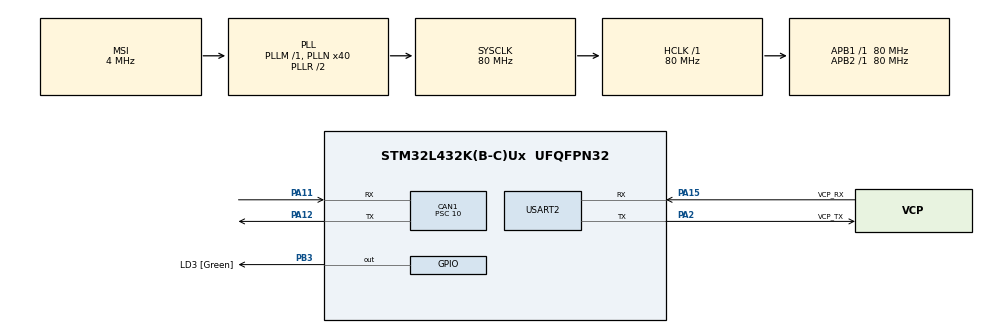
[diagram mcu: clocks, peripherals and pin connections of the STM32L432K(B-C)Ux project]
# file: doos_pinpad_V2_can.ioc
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CAN1.BS1=CAN_BS1_13TQ
CAN1.BS2=CAN_BS2_2TQ
CAN1.CalculateBaudRate=500000
CAN1.CalculateTimeBit=2000
CAN1.CalculateTimeQuantum=125.0
CAN1.Prescaler=10
CAN1.SJW=CAN_SJW_1TQ
Mcu.Family=STM32L4
Mcu.Name=STM32L432K(B-C)Ux
Mcu.Package=UFQFPN32
NVIC.CAN1_RX0_IRQn=true\:0\:0\:false\:false\:true\:true\:true\:true
NVIC.PriorityGroup=NVIC_PRIORITYGROUP_4
PA0.GPIO_Label=MCO [High speed clock in]
PA0.Mode=HSE-External-Clock-Source-for-LittleOrca
PA0.Signal=RCC_CK_IN
PA11.GPIO_PuPd=GPIO_PULLUP
PA11.Mode=CAN_Activate
PA11.Signal=CAN1_RX
PA12.Mode=CAN_Activate
PA12.Signal=CAN1_TX
PA13\ (JTMS-SWDIO).GPIO_Label=SWDIO
PA13\ (JTMS-SWDIO).Mode=Serial_Wire
PA13\ (JTMS-SWDIO).Signal=SYS_JTMS-SWDIO
PA14\ (JTCK-SWCLK).GPIO_Label=SWCLK
PA14\ (JTCK-SWCLK).Mode=Serial_Wire
PA14\ (JTCK-SWCLK).Signal=SYS_JTCK-SWCLK
PA15\ (JTDI).GPIO_Label=VCP_RX
PA15\ (JTDI).Mode=Asynchronous
PA15\ (JTDI).Signal=USART2_RX
PA2.GPIO_Label=VCP_TX
PA2.Mode=Asynchronous
PA2.Signal=USART2_TX
PB3\ (JTDO-TRACESWO).GPIO_Label=LD3 [Green]
PB3\ (JTDO-TRACESWO).Signal=GPIO_Output
PC14-OSC32_IN\ (PC14).Mode=LSE-External-Oscillator
PC14-OSC32_IN\ (PC14).Signal=RCC_OSC32_IN
PC15-OSC32_OUT\ (PC15).Mode=LSE-External-Oscillator
PC15-OSC32_OUT\ (PC15).Signal=RCC_OSC32_OUT
ProjectManager.HeapSize=0x200
ProjectManager.StackSize=0x400
ProjectManager.TargetToolchain=STM32CubeIDE
RCC.AHBFreq_Value=80000000
RCC.APB1Freq_Value=80000000
RCC.APB1TimFreq_Value=80000000
RCC.APB2Freq_Value=80000000
RCC.APB2TimFreq_Value=80000000
RCC.CortexFreq_Value=80000000
RCC.HCLKFreq_Value=80000000
RCC.HSE_VALUE=8000000
RCC.HSI16_VALUE=16000000
RCC.HSI48_VALUE=48000000
RCC.HSI_VALUE=16000000
RCC.MSI_VALUE=4000000
RCC.PLLMUL=RCC_PLLMUL_4
RCC.PLLN=40
RCC.SYSCLKFreq_VALUE=80000000
RCC.SYSCLKSource=RCC_SYSCLKSOURCE_PLLCLK
RCC.VCOOutputFreq_Value=160000000
USART2.VirtualMode-Asynchronous=VM_ASYNC
board=NUCLEO-L432KC

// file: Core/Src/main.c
/* USER CODE BEGIN Header */
/**
  ******************************************************************************
  * @file           : main.c
  * @brief          : Main program body
  ******************************************************************************
  * @attention
  *
  * Copyright (c) 2026 STMicroelectronics.
  * All rights reserved.
  *
  * This software is licensed under terms that can be found in the LICENSE file
  * in the root directory of this software component.
  * If no LICENSE file comes with this software, it is provided AS-IS.
  *
  ******************************************************************************
  */
/* USER CODE END Header */
#include "main.h"

/* USER CODE BEGIN Includes */
#include <string.h>
#include <stdio.h>
/* USER CODE END Includes */

CAN_HandleTypeDef hcan1;

UART_HandleTypeDef huart2;

/* USER CODE BEGIN PV */
CAN_RxHeaderTypeDef   rxHeader;
uint8_t               rxData[8];
volatile int datacheck = 0;
/* USER CODE END PV */

void SystemClock_Config(void);
static void MX_GPIO_Init(void);
static void MX_USART2_UART_Init(void);
static void MX_CAN1_Init(void);
/* USER CODE BEGIN PFP */
void sendCAN(uint32_t id, uint8_t *data, uint8_t len);
void uartPrint(char *msg);

/* USER CODE END PFP */

int main(void)
{

  /* MCU Configuration--------------------------------------------------------*/

  /* Reset of all peripherals, Initializes the Flash interface and the Systick. */
  HAL_Init();

  /* Configure the system clock */
  SystemClock_Config();

  /* Initialize all configured peripherals */
  MX_GPIO_Init();
  MX_USART2_UART_Init();
  MX_CAN1_Init();
  /* USER CODE BEGIN 2 */
  CAN_FilterTypeDef filter;

  filter.FilterBank = 0;
  filter.FilterMode = CAN_FILTERMODE_IDMASK;
  filter.FilterScale = CAN_FILTERSCALE_32BIT;
  filter.FilterIdHigh = 0;
  filter.FilterIdLow = 0;
  filter.FilterMaskIdHigh = 0;
  filter.FilterMaskIdLow = 0;
  filter.FilterFIFOAssignment = CAN_FILTER_FIFO0;
  filter.FilterActivation = ENABLE;

  HAL_CAN_ConfigFilter(&hcan1, &filter);
  HAL_CAN_Start(&hcan1);
  HAL_CAN_ActivateNotification(&hcan1, CAN_IT_RX_FIFO0_MSG_PENDING);

  /* USER CODE END 2 */

  /* Infinite loop */
  /* USER CODE BEGIN WHILE */
  while (1)
  {
	    CAN_TxHeaderTypeDef header;
	    uint32_t mailbox;
	    uint8_t data[1] = {0x12};

	    header.StdId = 0x104;
	    header.IDE = CAN_ID_STD;
	    header.RTR = CAN_RTR_DATA;
	    header.DLC = 1;
	    char msg[] = "CAN verstuurd!\n";
	    HAL_UART_Transmit(&huart2, (uint8_t*)msg, strlen(msg), HAL_MAX_DELAY);
	    HAL_Delay(5000);
	    if (HAL_CAN_AddTxMessage(&hcan1, &header, data, &mailbox) != HAL_OK)
	    {
	       Error_Handler ();
	    }

	    HAL_Delay(1000);
	    if (datacheck)
	    {
	    	datacheck =0;
		    char msg2[] = "CAN ontvangen!\n\0";
		    HAL_UART_Transmit(&huart2, (uint8_t*)msg2, strlen(msg2), HAL_MAX_DELAY);
	    }
    /* USER CODE END WHILE */

  }
}

void SystemClock_Config(void)
{
  RCC_OscInitTypeDef RCC_OscInitStruct = {0};
  RCC_ClkInitTypeDef RCC_ClkInitStruct = {0};

  /** Configure the main internal regulator output voltage
  */
  if (HAL_PWREx_ControlVoltageScaling(PWR_REGULATOR_VOLTAGE_SCALE1) != HAL_OK)
  {
    Error_Handler();
  }

  /** Configure LSE Drive Capability
  */
  HAL_PWR_EnableBkUpAccess();
  __HAL_RCC_LSEDRIVE_CONFIG(RCC_LSEDRIVE_LOW);

  /** Initializes the RCC Oscillators according to the specified parameters
  * in the RCC_OscInitTypeDef structure.
  */
  RCC_OscInitStruct.OscillatorType = RCC_OSCILLATORTYPE_LSE|RCC_OSCILLATORTYPE_MSI;
  RCC_OscInitStruct.LSEState = RCC_LSE_ON;
  RCC_OscInitStruct.MSIState = RCC_MSI_ON;
  RCC_OscInitStruct.MSICalibrationValue = 0;
  RCC_OscInitStruct.MSIClockRange = RCC_MSIRANGE_6;
  RCC_OscInitStruct.PLL.PLLState = RCC_PLL_ON;
  RCC_OscInitStruct.PLL.PLLSource = RCC_PLLSOURCE_MSI;
  RCC_OscInitStruct.PLL.PLLM = 1;
  RCC_OscInitStruct.PLL.PLLN = 40;
  RCC_OscInitStruct.PLL.PLLP = RCC_PLLP_DIV7;
  RCC_OscInitStruct.PLL.PLLQ = RCC_PLLQ_DIV2;
  RCC_OscInitStruct.PLL.PLLR = RCC_PLLR_DIV2;
  if (HAL_RCC_OscConfig(&RCC_OscInitStruct) != HAL_OK)
  {
    Error_Handler();
  }

  /** Initializes the CPU, AHB and APB buses clocks
  */
  RCC_ClkInitStruct.ClockType = RCC_CLOCKTYPE_HCLK|RCC_CLOCKTYPE_SYSCLK
                              |RCC_CLOCKTYPE_PCLK1|RCC_CLOCKTYPE_PCLK2;
  RCC_ClkInitStruct.SYSCLKSource = RCC_SYSCLKSOURCE_PLLCLK;
  RCC_ClkInitStruct.AHBCLKDivider = RCC_SYSCLK_DIV1;
  RCC_ClkInitStruct.APB1CLKDivider = RCC_HCLK_DIV1;
  RCC_ClkInitStruct.APB2CLKDivider = RCC_HCLK_DIV1;

  if (HAL_RCC_ClockConfig(&RCC_ClkInitStruct, FLASH_LATENCY_4) != HAL_OK)
  {
    Error_Handler();
  }

  /** Enable MSI Auto calibration
  */
  HAL_RCCEx_EnableMSIPLLMode();
}

static void MX_CAN1_Init(void)
{

  hcan1.Instance = CAN1;
  hcan1.Init.Prescaler = 10;
  hcan1.Init.Mode = CAN_MODE_NORMAL;
  hcan1.Init.SyncJumpWidth = CAN_SJW_1TQ;
  hcan1.Init.TimeSeg1 = CAN_BS1_13TQ;
  hcan1.Init.TimeSeg2 = CAN_BS2_2TQ;
  hcan1.Init.TimeTriggeredMode = DISABLE;
  hcan1.Init.AutoBusOff = ENABLE;
  hcan1.Init.AutoWakeUp = DISABLE;
  hcan1.Init.AutoRetransmission = ENABLE;
  hcan1.Init.ReceiveFifoLocked = DISABLE;
  hcan1.Init.TransmitFifoPriority = DISABLE;
  if (HAL_CAN_Init(&hcan1) != HAL_OK)
  {
    Error_Handler();
  }

}

static void MX_USART2_UART_Init(void)
{

  huart2.Instance = USART2;
  huart2.Init.BaudRate = 115200;
  huart2.Init.WordLength = UART_WORDLENGTH_8B;
  huart2.Init.StopBits = UART_STOPBITS_1;
  huart2.Init.Parity = UART_PARITY_NONE;
  huart2.Init.Mode = UART_MODE_TX_RX;
  huart2.Init.HwFlowCtl = UART_HWCONTROL_NONE;
  huart2.Init.OverSampling = UART_OVERSAMPLING_16;
  huart2.Init.OneBitSampling = UART_ONE_BIT_SAMPLE_DISABLE;
  huart2.AdvancedInit.AdvFeatureInit = UART_ADVFEATURE_NO_INIT;
  if (HAL_UART_Init(&huart2) != HAL_OK)
  {
    Error_Handler();
  }

}

static void MX_GPIO_Init(void)
{
  GPIO_InitTypeDef GPIO_InitStruct = {0};

  /* GPIO Ports Clock Enable */
  __HAL_RCC_GPIOC_CLK_ENABLE();
  __HAL_RCC_GPIOA_CLK_ENABLE();
  __HAL_RCC_GPIOB_CLK_ENABLE();

  /*Configure GPIO pin Output Level */
  HAL_GPIO_WritePin(LD3_GPIO_Port, LD3_Pin, GPIO_PIN_RESET);

  /*Configure GPIO pin : LD3_Pin */
  GPIO_InitStruct.Pin = LD3_Pin;
  GPIO_InitStruct.Mode = GPIO_MODE_OUTPUT_PP;
  GPIO_InitStruct.Pull = GPIO_NOPULL;
  GPIO_InitStruct.Speed = GPIO_SPEED_FREQ_LOW;
  HAL_GPIO_Init(LD3_GPIO_Port, &GPIO_InitStruct);

}

/* USER CODE BEGIN 4 */
void HAL_CAN_RxFifo0MsgPendingCallback(CAN_HandleTypeDef *hcan)
{
  if (HAL_CAN_GetRxMessage(hcan, CAN_RX_FIFO0, &rxHeader, rxData) != HAL_OK)
  {
    Error_Handler();
  }
  if ((rxHeader.StdId == 0x101))
  {
	  datacheck = 1;
  }
}
/* USER CODE END 4 */

void Error_Handler(void)
{
  __disable_irq();
  while (1)
  {
  }
}
